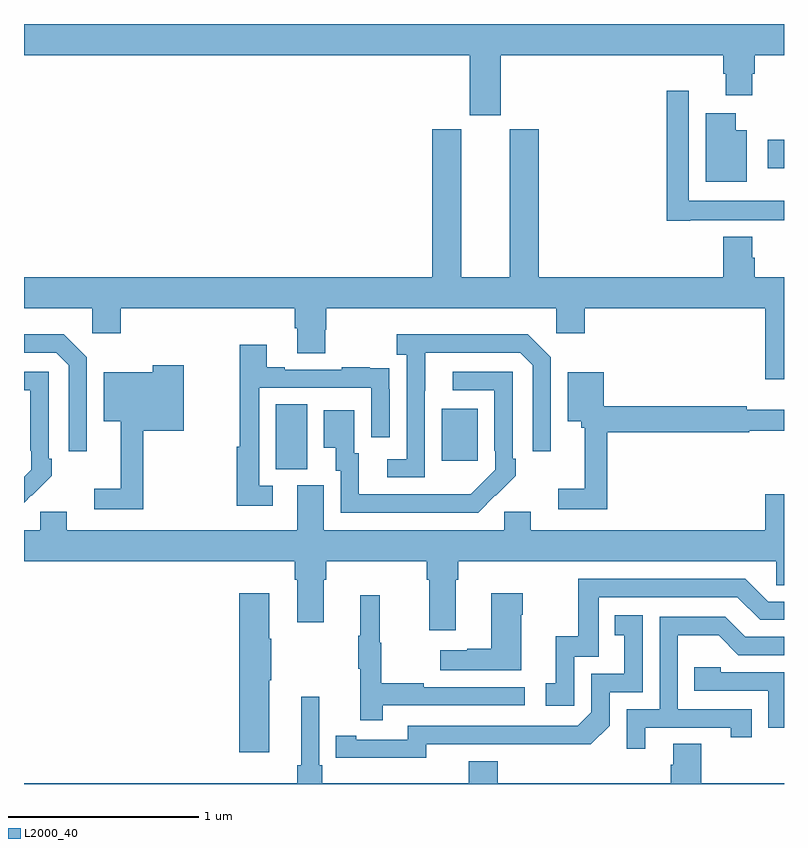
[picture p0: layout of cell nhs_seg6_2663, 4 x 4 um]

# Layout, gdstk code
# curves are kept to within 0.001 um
import gdstk
lib = gdstk.Library(unit=1e-6, precision=1e-09)
def R(c, l, rs):  # rectangles x0, y0, x1, y1
    for r in rs: c.add(gdstk.rectangle(r[:2], r[2:], *l))
def P(c, l, *ps):  # polygons
    for p in ps: c.add(gdstk.Polygon(p, *l))
L2000_40 = (2000, 40)

nhs_seg6_2663 = lib.new_cell('nhs_seg6_2663')
R(nhs_seg6_2663, L2000_40, [(270.326,945.157,270.49,945.5), (271.199,945.201,271.387,945.475), (272.915,946.742,273,946.89)])
P(nhs_seg6_2663, L2000_40, [(271.51,947.336),(272.681,947.336),(272.681,947.238),(272.693,947.238),(272.693,947.124),(272.833,947.124),(272.833,947.238),(272.846,947.238),(272.846,947.336),(273,947.336),(273,947.5),(269,947.5),(269,947.336),(271.346,947.336),(271.346,947.019),(271.51,947.019)],
  [(272.506,946.466),(273,946.466),(273,946.57),(272.499,946.57),(272.499,947.149),(272.383,947.149),(272.383,946.464),(272.506,946.464)],
  [(272.803,946.942),(272.746,946.942),(272.746,947.029),(272.588,947.029),(272.588,946.67),(272.803,946.67)],
  [(273,946.168),(272.846,946.168),(272.846,946.269),(272.833,946.269),(272.833,946.381),(272.681,946.381),(272.681,946.168),(271.709,946.168),(271.709,946.947),(271.556,946.947),(271.556,946.168),(271.3,946.168),(271.3,946.947),(271.148,946.947),(271.148,946.168),(269,946.168),(269,946.004),(269.358,946.004),(269.358,945.873),(269.51,945.873),(269.51,946.004),(270.425,946.004),(270.425,945.898),(270.437,945.898),(270.437,945.766),(270.585,945.766),(270.585,945.891),(270.59,945.891),(270.59,946.004),(271.8,946.004),(271.8,945.873),(271.952,945.873),(271.952,946.004),(272.9,946.004),(272.9,945.63),(273,945.63)],
  [(269.331,945.747),(269.21,945.868),(269,945.868),(269,945.771),(269.169,945.771),(269.235,945.705),(269.235,945.252),(269.331,945.252)],
  [(271.11,945.571),(271.111,945.771),(271.611,945.771),(271.677,945.705),(271.677,945.252),(271.773,945.252),(271.773,945.747),(271.652,945.868),(270.963,945.868),(270.963,945.758),(271.014,945.758),(271.014,945.21),(270.912,945.21),(270.912,945.114),(271.11,945.114)],
  [(270.31,945.069),(270.237,945.069),(270.237,945.585),(270.828,945.585),(270.828,945.324),(270.924,945.324),(270.924,945.578),(270.923,945.578),(270.923,945.687),(270.821,945.687),(270.821,945.694),(270.673,945.694),(270.673,945.681),(270.373,945.681),(270.373,945.694),(270.277,945.694),(270.277,945.811),(270.136,945.811),(270.136,945.276),(270.121,945.276),(270.121,944.964),(270.31,944.964)],
  [(269.627,945.359),(269.842,945.359),(269.842,945.703),(269.677,945.703),(269.677,945.667),(269.42,945.667),(269.42,945.41),(269.51,945.41),(269.51,945.055),(269.37,945.055),(269.37,944.946),(269.627,944.946)],
  [(269.039,945.019),(269.04,945.018),(269.145,945.123),(269.145,945.211),(269.13,945.211),(269.13,945.669),(269,945.669),(269,945.573),(269.034,945.573),(269.034,945.253),(269.037,945.253),(269.037,945.153),(269,945.116),(269,944.98)],
  [(271.481,945.019),(271.482,945.018),(271.587,945.123),(271.587,945.211),(271.572,945.211),(271.572,945.669),(271.257,945.669),(271.257,945.573),(271.476,945.573),(271.476,945.253),(271.479,945.253),(271.479,945.153),(271.351,945.025),(270.763,945.024),(270.763,945.24),(270.739,945.24),(270.739,945.466),(270.578,945.466),(270.578,945.269),(270.641,945.269),(270.641,945.15),(270.666,945.15),(270.666,944.928),(271.39,944.928)],
  [(272.069,945.352),(272.818,945.352),(272.818,945.36),(273,945.36),(273,945.469),(272.804,945.469),(272.804,945.488),(272.05,945.488),(272.05,945.667),(271.862,945.667),(271.862,945.41),(271.934,945.41),(271.934,945.375),(271.952,945.375),(271.952,945.055),(271.812,945.055),(271.812,944.946),(272.069,944.946)],
  [(271.273,944.576),(271.286,944.576),(271.286,944.672),(272.958,944.672),(272.958,944.545),(273,944.545),(273,945.025),(272.9,945.025),(272.9,944.836),(271.666,944.836),(271.666,944.934),(271.527,944.934),(271.527,944.836),(270.577,944.836),(270.577,945.072),(270.437,945.072),(270.437,944.836),(269.224,944.836),(269.224,944.934),(269.085,944.934),(269.085,944.836),(269,944.836),(269,944.672),(270.425,944.672),(270.425,944.576),(270.437,944.576),(270.437,944.352),(270.577,944.352),(270.577,944.576),(270.59,944.576),(270.59,944.672),(271.121,944.672),(271.121,944.576),(271.133,944.576),(271.133,944.31),(271.273,944.31)],
  [(271.896,944.169),(272.025,944.169),(272.025,944.484),(272.754,944.484),(272.874,944.364),(273,944.364),(273,944.46),(272.916,944.46),(272.796,944.58),(271.917,944.58),(271.917,944.278),(271.799,944.278),(271.799,944.031),(271.746,944.031),(271.746,943.911),(271.896,943.911)],
  [(270.292,944.047),(270.3,944.047),(270.3,944.264),(270.292,944.264),(270.292,944.503),(270.134,944.503),(270.134,943.668),(270.292,943.668)],
  [(271.618,944.39),(271.626,944.39),(271.626,944.503),(271.46,944.503),(271.46,944.213),(271.334,944.213),(271.334,944.203),(271.191,944.203),(271.191,944.099),(271.618,944.099)],
  [(270.887,943.914),(271.636,943.914),(271.636,944.01),(271.103,944.01),(271.103,944.03),(270.88,944.03),(270.88,944.244),(270.872,944.244),(270.872,944.494),(270.77,944.494),(270.77,944.281),(270.759,944.281),(270.759,944.107),(270.77,944.107),(270.77,943.836),(270.887,943.836)],
  [(271.116,943.71),(271.984,943.709),(272.082,943.806),(272.082,943.983),(272.256,943.983),(272.256,944.389),(272.11,944.389),(272.11,944.283),(272.159,944.283),(272.159,944.079),(271.986,944.079),(271.986,943.878),(271.914,943.806),(271.02,943.806),(271.02,943.734),(270.748,943.734),(270.748,943.754),(270.64,943.754),(270.64,943.638),(271.116,943.637)],
  [(272.269,943.797),(272.72,943.797),(272.72,943.746),(272.831,943.746),(272.831,943.893),(272.442,943.893),(272.442,944.282),(272.656,944.282),(272.76,944.178),(273,944.178),(273,944.274),(272.797,944.274),(272.692,944.379),(272.346,944.379),(272.346,943.893),(272.172,943.893),(272.172,943.686),(272.269,943.686)],
  [(273,944.088),(272.667,944.088),(272.667,944.115),(272.527,944.115),(272.527,943.992),(272.916,943.992),(272.916,943.797),(273,943.797)],
  [(273,943.504),(272.565,943.504),(272.565,943.712),(272.417,943.712),(272.417,943.602),(272.405,943.602),(272.405,943.504),(271.493,943.504),(271.493,943.621),(271.34,943.621),(271.34,943.504),(270.569,943.504),(270.569,943.6),(270.555,943.6),(270.555,943.96),(270.458,943.96),(270.458,943.6),(270.439,943.6),(270.439,943.504),(269,943.504),(269,943.5),(273,943.5)])

lib.write_gds('nhs_seg6_2663.gds')
